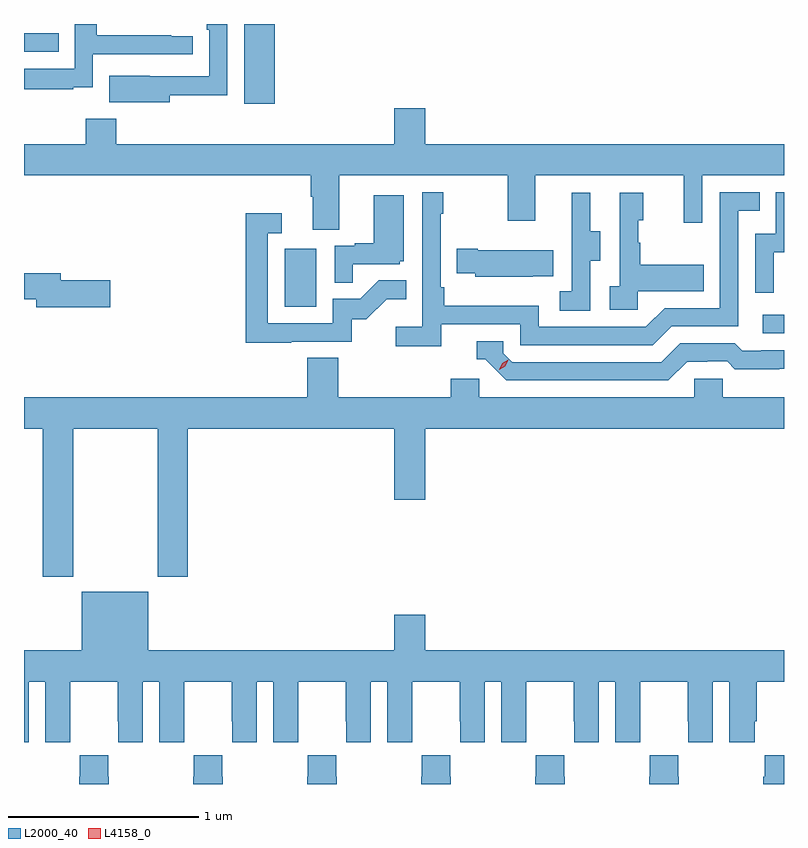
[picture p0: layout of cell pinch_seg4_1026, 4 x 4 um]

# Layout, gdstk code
import gdstk
lib = gdstk.Library(unit=1e-6, precision=1e-09)
def R(c, l, rs):  # rectangles x0, y0, x1, y1
    for r in rs: c.add(gdstk.rectangle(r[:2], r[2:], *l))
def P(c, l, *ps):  # polygons
    for p in ps: c.add(gdstk.Polygon(p, *l))
L2000_40 = (2000, 40)
L4158_0 = (4158, 0)

pinch_seg4_1026 = lib.new_cell('pinch_seg4_1026')
R(pinch_seg4_1026, L2000_40, [(802.311,762.69,802.423,762.786), (799.796,762.828,799.96,763.135), (799.583,763.896,799.744,764.317), (798.423,764.172,798.605,764.268)])
P(pinch_seg4_1026, L2000_40, [(798.683,763.985),(798.786,763.985),(798.786,764.157),(799.312,764.157),(799.312,764.253),(799.199,764.253),(799.199,764.258),(798.806,764.258),(798.806,764.317),(798.69,764.317),(798.69,764.082),(798.423,764.082),(798.423,763.974),(798.683,763.974)],
  [(799.189,763.942),(799.494,763.942),(799.494,764.317),(799.385,764.317),(799.385,764.288),(799.398,764.288),(799.398,764.043),(799.085,764.043),(799.085,764.044),(798.871,764.044),(798.871,763.904),(799.189,763.904)],
  [(800.083,763.52),(800.968,763.52),(800.968,763.281),(801.115,763.281),(801.115,763.52),(801.896,763.52),(801.896,763.272),(801.993,763.272),(801.993,763.52),(802.423,763.52),(802.423,763.684),(800.536,763.684),(800.536,763.873),(800.372,763.873),(800.372,763.684),(798.908,763.684),(798.908,763.819),(798.748,763.819),(798.748,763.684),(798.423,763.684),(798.423,763.52),(799.931,763.52),(799.931,763.408),(799.943,763.408),(799.943,763.234),(800.083,763.234)],
  [(800.618,762.738),(801.036,762.738),(801.036,762.627),(801.733,762.627),(801.832,762.726),(802.182,762.726),(802.182,763.335),(802.295,763.335),(802.295,763.431),(802.086,763.431),(802.086,762.822),(801.795,762.822),(801.696,762.723),(801.132,762.723),(801.132,762.835),(800.636,762.835),(800.636,762.931),(800.616,762.931),(800.616,763.319),(800.629,763.319),(800.629,763.432),(800.52,763.432),(800.52,762.724),(800.379,762.724),(800.379,762.622),(800.618,762.622)],
  [(802.368,763.115),(802.423,763.115),(802.423,763.431),(802.38,763.431),(802.38,763.212),(802.272,763.212),(802.272,762.903),(802.368,762.903)],
  [(801.654,762.911),(802.001,762.911),(802.001,763.051),(801.667,763.051),(801.667,763.166),(801.657,763.166),(801.657,763.284),(801.682,763.284),(801.682,763.429),(801.558,763.429),(801.558,762.938),(801.507,762.938),(801.507,762.813),(801.654,762.813)],
  [(801.402,763.072),(801.457,763.072),(801.457,763.227),(801.403,763.227),(801.403,763.429),(801.305,763.429),(801.305,763.215),(801.306,763.215),(801.306,762.911),(801.243,762.911),(801.243,762.808),(801.402,762.808)],
  [(800.153,763.053),(800.4,763.053),(800.4,763.068),(800.422,763.068),(800.422,763.417),(800.264,763.417),(800.264,763.162),(800.165,763.162),(800.165,763.149),(800.058,763.149),(800.058,762.955),(800.153,762.955)],
  [(799.829,762.645),(800.148,762.645),(800.148,762.762),(800.224,762.762),(800.331,762.869),(800.435,762.869),(800.435,762.968),(800.291,762.968),(800.193,762.87),(800.049,762.87),(800.049,762.741),(799.707,762.741),(799.707,763.215),(799.78,763.215),(799.78,763.321),(799.591,763.321),(799.591,762.64),(799.829,762.64)],
  [(801.101,762.989),(801.209,762.989),(801.209,763.126),(800.812,763.126),(800.812,763.134),(800.701,763.134),(800.701,763.004),(800.799,763.004),(800.799,762.986),(801.101,762.986)],
  [(798.877,762.968),(798.616,762.968),(798.616,763.004),(798.423,763.004),(798.423,762.868),(798.488,762.868),(798.488,762.826),(798.877,762.826)],
  [(801.913,762.54),(802.02,762.54),(802.02,762.543),(802.123,762.543),(802.165,762.501),(802.398,762.501),(802.398,762.503),(802.423,762.503),(802.423,762.6),(802.303,762.6),(802.303,762.597),(802.204,762.597),(802.165,762.636),(801.876,762.636),(801.777,762.537),(800.994,762.537),(800.946,762.585),(800.946,762.648),(800.807,762.648),(800.807,762.552),(800.85,762.552),(800.961,762.441),(801.814,762.441)],
  [(798.681,762.188),(799.126,762.188),(799.126,761.409),(799.286,761.409),(799.286,762.188),(800.372,762.188),(800.372,761.814),(800.536,761.814),(800.536,762.188),(802.423,762.188),(802.423,762.352),(802.101,762.352),(802.101,762.45),(801.951,762.45),(801.951,762.352),(800.82,762.352),(800.82,762.45),(800.669,762.45),(800.669,762.352),(800.078,762.352),(800.078,762.56),(799.913,762.56),(799.913,762.352),(798.423,762.352),(798.423,762.188),(798.521,762.188),(798.521,761.409),(798.681,761.409)],
  [(799.078,761.329),(798.728,761.329),(798.728,761.02),(798.423,761.02),(798.423,760.536),(798.448,760.536),(798.448,760.856),(798.536,760.856),(798.536,760.536),(798.666,760.536),(798.666,760.648),(798.667,760.648),(798.667,760.856),(798.917,760.856),(798.917,760.648),(798.918,760.648),(798.918,760.536),(799.048,760.536),(799.048,760.856),(799.136,760.856),(799.136,760.536),(799.266,760.536),(799.266,760.648),(799.267,760.648),(799.267,760.856),(799.517,760.856),(799.517,760.648),(799.518,760.648),(799.518,760.536),(799.648,760.536),(799.648,760.856),(799.736,760.856),(799.736,760.536),(799.866,760.536),(799.866,760.648),(799.867,760.648),(799.867,760.856),(800.117,760.856),(800.117,760.648),(800.118,760.648),(800.118,760.536),(800.248,760.536),(800.248,760.856),(800.336,760.856),(800.336,760.536),(800.466,760.536),(800.466,760.648),(800.467,760.648),(800.467,760.856),(800.717,760.856),(800.717,760.648),(800.718,760.648),(800.718,760.536),(800.848,760.536),(800.848,760.856),(800.936,760.856),(800.936,760.536),(801.066,760.536),(801.066,760.648),(801.067,760.648),(801.067,760.856),(801.317,760.856),(801.317,760.648),(801.318,760.648),(801.318,760.536),(801.448,760.536),(801.448,760.856),(801.536,760.856),(801.536,760.536),(801.666,760.536),(801.666,760.648),(801.667,760.648),(801.667,760.856),(801.917,760.856),(801.917,760.648),(801.918,760.648),(801.918,760.536),(802.048,760.536),(802.048,760.856),(802.136,760.856),(802.136,760.536),(802.27,760.536),(802.27,760.648),(802.28,760.648),(802.28,760.856),(802.423,760.856),(802.423,761.02),(800.536,761.02),(800.536,761.209),(800.372,761.209),(800.372,761.02),(799.078,761.02)],
  [(800.67,760.355),(800.667,760.355),(800.667,760.468),(800.517,760.468),(800.517,760.355),(800.515,760.355),(800.515,760.317),(800.67,760.317)],
  [(802.423,760.468),(802.321,760.468),(802.321,760.355),(802.315,760.355),(802.315,760.317),(802.423,760.317)],
  [(801.87,760.355),(801.867,760.355),(801.867,760.468),(801.717,760.468),(801.717,760.355),(801.715,760.355),(801.715,760.317),(801.87,760.317)],
  [(801.27,760.355),(801.267,760.355),(801.267,760.468),(801.117,760.468),(801.117,760.355),(801.115,760.355),(801.115,760.317),(801.27,760.317)],
  [(800.07,760.355),(800.067,760.355),(800.067,760.468),(799.917,760.468),(799.917,760.355),(799.915,760.355),(799.915,760.317),(800.07,760.317)],
  [(799.47,760.355),(799.467,760.355),(799.467,760.468),(799.317,760.468),(799.317,760.355),(799.315,760.355),(799.315,760.317),(799.47,760.317)],
  [(798.87,760.355),(798.867,760.355),(798.867,760.468),(798.717,760.468),(798.717,760.355),(798.715,760.355),(798.715,760.317),(798.87,760.317)])
P(pinch_seg4_1026, L4158_0, [(800.924,762.498),(800.924,762.498),(800.94,762.531),(800.971,762.55),(800.971,762.55),(800.971,762.55),(800.955,762.517),(800.924,762.498)])

lib.write_gds('pinch_seg4_1026.gds')
